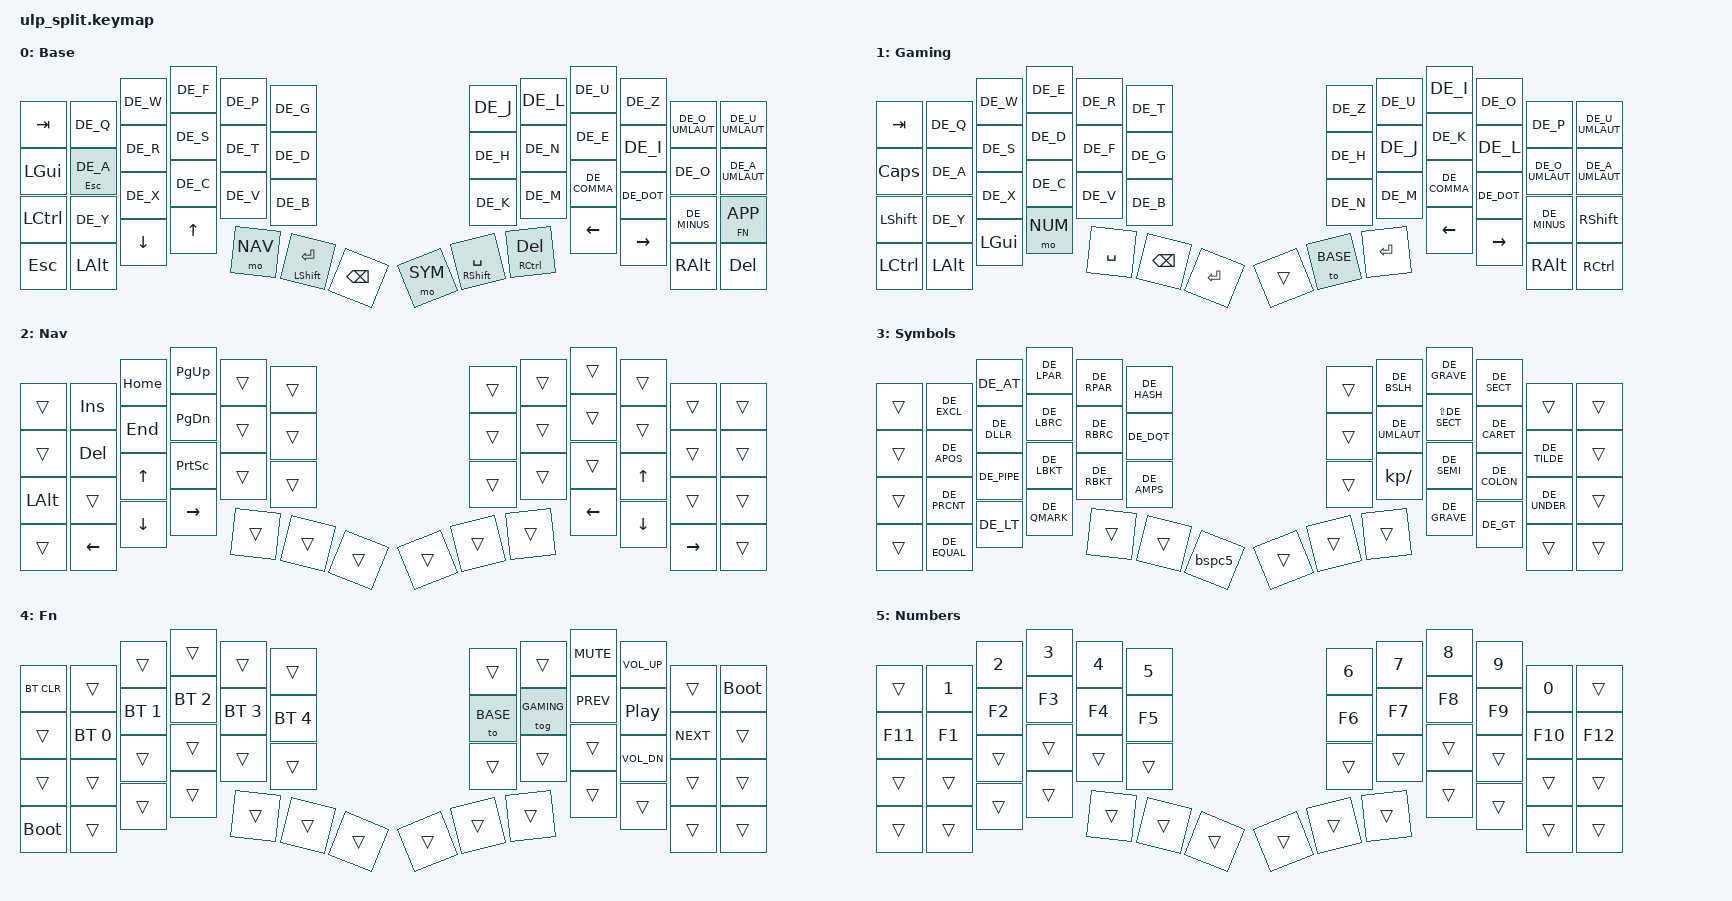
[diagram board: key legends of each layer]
/*
 * Colemak-DH-ish + Swiss German, ported from the tightarc Vial layout (OS layout: Swiss German).
 * No number row: hold two adjacent thumbs (NAV + Ent/Shift on the left or SYM + Spc/Shift on the right)
 * for the NUM layer (digits + F keys).
 *
 * Key order per layer: top, home, bottom row (12 keys each), then the bottom line:
 * left lower x4 (outer, pinky, ring, middle), left thumbs (near, mid, far),
 * right thumbs (far, mid, near), right lower x4 (middle, ring, pinky, outer).
 *
 * Positions: 0-11 top, 12-23 home, 24-35 bottom, 36-39 left lower, 40-42 left thumbs,
 * 43-45 right thumbs, 46-49 right lower.
 */

#include "keys_de_swiss.h"
#include <behaviors.dtsi>
#include <dt-bindings/zmk/bt.h>
#include <dt-bindings/zmk/keys.h>

#define BASE 0
#define GAMING 1
#define NAV 2
#define SYM 3
#define FN 4
#define NUM 5

/ {
    behaviors {
        // thumb mod-taps (Ent/Shift, Spc/Shift, Del/Ctrl), mirrors the tightarc QMK settings:
        // tapping term 130, "Ignore Mod Tap Interrupt" off = Vial's get_hold_on_other_key_press()
        // returns true (hold-preferred: any other key pressed while held -> mod),
        // no tapping force hold (tap, then press+hold again within 130 ms = repeat the tap key),
        // no retro tapping (ZMK default)
        ht: hold_tap {
            compatible = "zmk,behavior-hold-tap";
            bindings = <&kp>, <&kp>;
            #binding-cells = <2>;
            flavor = "hold-preferred";
            tapping-term-ms = <130>;
            quick-tap-ms = <130>;
        };

        // A / Esc (tightarc tap dance: hold only after the 200 ms term)
        ht_slow: hold_tap_slow {
            compatible = "zmk,behavior-hold-tap";
            bindings = <&kp>, <&kp>;
            #binding-cells = <2>;
            flavor = "tap-preferred";
            tapping-term-ms = <200>;
        };
    };

    macros {
        bspc5: bspc5 {
            compatible = "zmk,behavior-macro";
            #binding-cells = <0>;
            bindings = <&kp BSPC &kp BSPC &kp BSPC &kp BSPC &kp BSPC>;
        };
    };

    combos {
        compatible = "zmk,combos";

        num_left {
            timeout-ms = <50>;
            require-prior-idle-ms = <150>;
            key-positions = <40 41>;
            bindings = <&mo NUM>;
            layers = <BASE>;
        };

        num_right {
            timeout-ms = <50>;
            require-prior-idle-ms = <150>;
            key-positions = <43 44>;
            bindings = <&mo NUM>;
            layers = <BASE>;
        };

        // lock NAV: NAV thumb + right lower outer (Del); tap the NAV thumb to leave
        nav_lock {
            timeout-ms = <50>;
            key-positions = <40 49>;
            bindings = <&tog NAV>;
            layers = <BASE NAV>;
        };
    };

    keymap {
        compatible = "zmk,keymap";

        default_layer {
            display-name = "Base";
            // | TAB  |  Q    |  W   |  F   |  P   |  G   |                              |  J   |  L    |  U   |  Z   |  Ö   |  Ü      |
            // | GUI  | A/ESC |  R   |  S   |  T   |  D   |                              |  H   |  N    |  E   |  I   |  O   |  Ä      |
            // | CTRL |  Y    |  X   |  C   |  V   |  B   |                              |  K   |  M    |  ,   |  .   |  -   | APP/FN  |
            // | ESC  |  ALT  |  ↓   |  ↑   | NAV | ENT/SHFT | BKSPC |  | SYM | SPC/SHFT | DEL/CTRL |  ←   |  →   | RALT |  DEL  |
            bindings = <
&kp TAB    &kp DE_Q                &kp DE_W  &kp DE_F  &kp DE_P  &kp DE_G                                                                            &kp DE_J  &kp DE_L  &kp DE_U      &kp DE_Z  &kp DE_O_UMLAUT  &kp DE_U_UMLAUT
&kp LGUI   &ht_slow ESC DE_A       &kp DE_R  &kp DE_S  &kp DE_T  &kp DE_D                                                                            &kp DE_H  &kp DE_N  &kp DE_E      &kp DE_I  &kp DE_O         &kp DE_A_UMLAUT
&kp LCTRL  &kp DE_Y                &kp DE_X  &kp DE_C  &kp DE_V  &kp DE_B                                                                            &kp DE_K  &kp DE_M  &kp DE_COMMA  &kp DE_DOT  &kp DE_MINUS   &lt FN K_APP
&kp ESC    &kp LALT  &kp DOWN  &kp UP    &mo NAV  &ht LSHIFT RET  &kp BSPC    &mo SYM  &ht RSHIFT SPACE  &ht RCTRL DEL    &kp LEFT  &kp RIGHT  &kp RALT  &kp DEL
            >;
        };

        gaming {
            display-name = "Gaming";
            // plain QWERTY (toggle: Fn + N, leave: Fn + H or the Spc/Shift thumb); hold the lower
            // middle key (left) for numbers + F keys, the thumb combos are off here
            bindings = <
&kp TAB       &kp DE_Q  &kp DE_W  &kp DE_E  &kp DE_R  &kp DE_T                                &kp DE_Z  &kp DE_U  &kp DE_I      &kp DE_O    &kp DE_P         &kp DE_U_UMLAUT
&kp CAPSLOCK  &kp DE_A  &kp DE_S  &kp DE_D  &kp DE_F  &kp DE_G                                &kp DE_H  &kp DE_J  &kp DE_K      &kp DE_L    &kp DE_O_UMLAUT  &kp DE_A_UMLAUT
&kp LSHIFT    &kp DE_Y  &kp DE_X  &kp DE_C  &kp DE_V  &kp DE_B                                &kp DE_N  &kp DE_M  &kp DE_COMMA  &kp DE_DOT  &kp DE_MINUS     &kp RSHIFT
&kp LCTRL  &kp LALT  &kp LGUI  &mo NUM    &kp SPACE  &kp BSPC  &kp RET    &trans  &to BASE  &kp RET    &kp LEFT  &kp RIGHT  &kp RALT  &kp RCTRL
            >;
        };

        nav {
            display-name = "Nav";
            // inverted-T arrows on both halves (↑ on X / ., ← ↓ → on the lower row)
            bindings = <
&trans     &kp INSERT  &kp HOME  &kp PG_UP        &trans  &trans                                &trans  &trans  &trans  &trans  &trans  &trans
&trans     &kp DEL     &kp END   &kp PG_DN        &trans  &trans                                &trans  &trans  &trans  &trans  &trans  &trans
&kp LALT   &trans      &kp UP    &kp PRINTSCREEN  &trans  &trans                                &trans  &trans  &trans  &kp UP  &trans  &trans
&trans     &kp LEFT  &kp DOWN  &kp RIGHT    &trans  &trans  &trans    &trans  &trans  &trans    &kp LEFT  &kp DOWN  &kp RIGHT  &trans
            >;
        };

        symbols {
            display-name = "Symbols";
            // |   |  !  |  @  |  (  |  )  |  #  |      |   |  \  |  `  |  §  |     |   |
            // |   |  '  |  $  |  {  |  }  |  "  |      |   |  ¨  |  °  |  ^  |  ~  |   |
            // |   |  %  |  |  |  [  |  ]  |  &  |      |   |  /  |  ;  |  :  |  _  |   |
            // |   |  =  |  <  |  ?  |     |     | 5×BKSP |  |   |   |   |  `  |  >  |   |   |
            bindings = <
&trans  &kp DE_EXCL   &kp DE_AT    &kp DE_LPAR  &kp DE_RPAR  &kp DE_HASH                                &trans  &kp DE_BSLH    &kp DE_GRAVE      &kp DE_SECT   &trans        &trans
&trans  &kp DE_APOS   &kp DE_DLLR  &kp DE_LBRC  &kp DE_RBRC  &kp DE_DQT                                 &trans  &kp DE_UMLAUT  &kp LS(DE_SECT)   &kp DE_CARET  &kp DE_TILDE  &trans
&trans  &kp DE_PRCNT  &kp DE_PIPE  &kp DE_LBKT  &kp DE_RBKT  &kp DE_AMPS                                &trans  &kp KP_SLASH   &kp DE_SEMI       &kp DE_COLON  &kp DE_UNDER  &trans
&trans  &kp DE_EQUAL  &kp DE_LT    &kp DE_QMARK    &trans  &trans  &bspc5    &trans  &trans  &trans    &kp DE_GRAVE  &kp DE_GT  &trans  &trans
            >;
        };

        fn {
            display-name = "Fn";
            // right: media keys + H base / N gaming (from the tightarc); left: Bluetooth profiles, BT_CLR forgets the
            // current profile's host; bootloader = flash mode for the half it is pressed on
            bindings = <
&bt BT_CLR   &trans        &trans        &trans        &trans        &trans                                &trans  &trans  &kp C_MUTE    &kp C_VOL_UP  &trans      &bootloader
&trans       &bt BT_SEL 0  &bt BT_SEL 1  &bt BT_SEL 2  &bt BT_SEL 3  &bt BT_SEL 4                          &to BASE  &tog GAMING  &kp C_PREV    &kp C_PP      &kp C_NEXT  &trans
&trans       &trans        &trans        &trans        &trans        &trans                                &trans  &trans  &trans        &kp C_VOL_DN  &trans      &trans
&bootloader  &trans  &trans  &trans    &trans  &trans  &trans    &trans  &trans  &trans    &trans  &trans  &trans  &trans
            >;
        };

        num {
            display-name = "Numbers";
            bindings = <
&trans   &kp N1  &kp N2  &kp N3  &kp N4  &kp N5                                &kp N6  &kp N7  &kp N8  &kp N9  &kp N0   &trans
&kp F11  &kp F1  &kp F2  &kp F3  &kp F4  &kp F5                                &kp F6  &kp F7  &kp F8  &kp F9  &kp F10  &kp F12
&trans   &trans  &trans  &trans  &trans  &trans                                &trans  &trans  &trans  &trans  &trans   &trans
&trans  &trans  &trans  &trans    &trans  &trans  &trans    &trans  &trans  &trans    &trans  &trans  &trans  &trans
            >;
        };
    };
};
